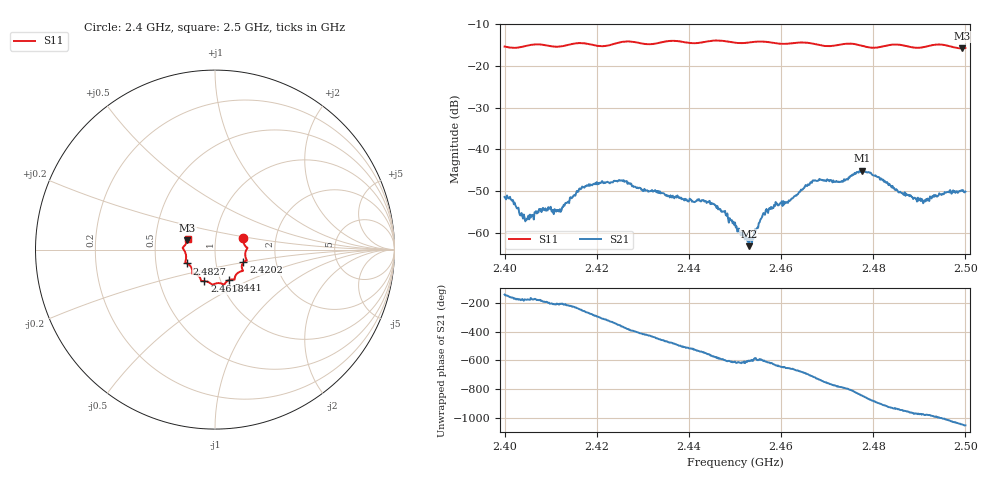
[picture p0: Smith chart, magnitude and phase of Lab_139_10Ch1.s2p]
# Hz S RI R
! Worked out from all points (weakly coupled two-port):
!   601 points, 2.4 GHz to 2.5 GHz, reference 50 ohm
!   highest |S21| = -45.14 dB at 2.4777 GHz (marker M1); lowest = -63.3 dB at 2.453 GHz (marker M2)
!   lowest |S11| = -15.8 dB at 2.4993 GHz (marker M3), VSWR 1.39, Z = 36.5 + j3.85 ohm
!   |S11| at or under -10 dB: start of sweep to end of sweep
!   S12 and S22 are empty: the file has one direction only
!   S11 on the Smith chart (normalised r, x): 2.4 GHz: 1.36, +0.18; 2.4202 GHz: 1.36, -0.20; 2.441 GHz: 1.10, -0.39; 2.4618 GHz: 0.84, -0.30; 2.4827 GHz: 0.72, -0.12; 2.5 GHz: 0.73, +0.09
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2.4e9  0.1584 0.0629  -0.00203 -0.00173  0 0  0 0
2.404833e9  0.174 0.0147  -0.00142 -0.000118  0 0  0 0
2.408e9  0.1798 0.00659  -0.00176 5.01e-05  0 0  0 0
2.412e9  0.1682 -0.0282  -0.00175 0.000753  0 0  0 0
2.416667e9  0.1774 -0.0607  -0.00139 0.00308  0 0  0 0
2.420167e9  0.1584 -0.0712  0.0015 0.00347  0 0  0 0
2.425333e9  0.155 -0.1151  0.00421 -0.00021  0 0  0 0
2.433333e9  0.1116 -0.1512  8.72e-05 -0.00315  0 0  0 0
2.441e9  0.0785 -0.1697  -0.00226 -0.000624  0 0  0 0
2.445333e9  0.0516 -0.1939  -0.00189 0.00111  0 0  0 0
2.45e9  0.0284 -0.1873  -0.0005 0.00122  0 0  0 0
2.453e9  -0.00096 -0.1905  -0.000335 0.000598  0 0  0 0
2.4565e9  -0.0176 -0.1941  -0.000663 0.00149  0 0  0 0
2.461833e9  -0.0592 -0.1755  0.00103 0.00217  0 0  0 0
2.466667e9  -0.0786 -0.1683  0.00387 0.000789  0 0  0 0
2.473e9  -0.1201 -0.1346  0.00165 -0.0037  0 0  0 0
2.477667e9  -0.1268 -0.1188  -0.00334 -0.00441  0 0  0 0
2.482667e9  -0.1562 -0.0772  -0.00386 0.00104  0 0  0 0
2.483333e9  -0.1604 -0.0752  -0.00333 0.00162  0 0  0 0
2.490833e9  -0.1668 -0.0133  -0.000594 0.00217  0 0  0 0
2.499333e9  -0.1537 0.0514  0.00266 0.00172  0 0  0 0
2.5e9  -0.152 0.0608  0.00276 0.00139  0 0  0 0
